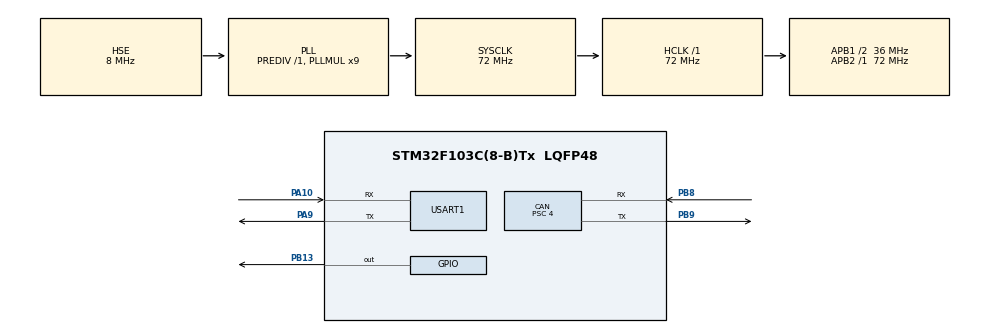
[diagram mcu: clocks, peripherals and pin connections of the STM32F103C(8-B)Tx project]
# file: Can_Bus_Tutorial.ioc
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CAN.BS1=CAN_BS1_9TQ
CAN.BS2=CAN_BS2_8TQ
CAN.CalculateTimeBit=2000
CAN.CalculateTimeQuantum=111.11111111111111
CAN.Prescaler=4
Mcu.Family=STM32F1
Mcu.Name=STM32F103C(8-B)Tx
Mcu.Package=LQFP48
NVIC.PriorityGroup=NVIC_PRIORITYGROUP_4
NVIC.USART1_IRQn=true\:0\:0\:false\:false\:true\:true\:true\:true
NVIC.USB_LP_CAN1_RX0_IRQn=true\:0\:0\:false\:false\:true\:true\:true\:true
PA10.Mode=Asynchronous
PA10.Signal=USART1_RX
PA13.Mode=Serial_Wire
PA13.Signal=SYS_JTMS-SWDIO
PA14.Mode=Serial_Wire
PA14.Signal=SYS_JTCK-SWCLK
PA9.Mode=Asynchronous
PA9.Signal=USART1_TX
PB13.Signal=GPIO_Output
PB8.Mode=Master
PB8.Signal=CAN_RX
PB9.Mode=Master
PB9.Signal=CAN_TX
PD0-OSC_IN.Mode=HSE-External-Oscillator
PD0-OSC_IN.Signal=RCC_OSC_IN
PD1-OSC_OUT.Mode=HSE-External-Oscillator
PD1-OSC_OUT.Signal=RCC_OSC_OUT
ProjectManager.HeapSize=0x200
ProjectManager.StackSize=0x400
ProjectManager.TargetToolchain=MDK-ARM V5
RCC.AHBFreq_Value=72000000
RCC.APB1CLKDivider=RCC_HCLK_DIV2
RCC.APB1Freq_Value=36000000
RCC.APB1TimFreq_Value=72000000
RCC.APB2Freq_Value=72000000
RCC.APB2TimFreq_Value=72000000
RCC.HCLKFreq_Value=72000000
RCC.PLLMUL=RCC_PLL_MUL9
RCC.PLLSourceVirtual=RCC_PLLSOURCE_HSE
RCC.SYSCLKFreq_VALUE=72000000
RCC.SYSCLKSource=RCC_SYSCLKSOURCE_PLLCLK
RCC.USBFreq_Value=72000000
USART1.VirtualMode=VM_ASYNC
board=custom

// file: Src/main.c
/**
  ******************************************************************************
  * @file           : main.c
  * @brief          : Main program body
  ******************************************************************************
  ** This notice applies to any and all portions of this file
  * that are not between comment pairs USER CODE BEGIN and
  * USER CODE END. Other portions of this file, whether
  * inserted by the user or by software development tools
  * are owned by their respective copyright owners.
  *
  * COPYRIGHT(c) 2019 STMicroelectronics
  *
  * Redistribution and use in source and binary forms, with or without modification,
  * are permitted provided that the following conditions are met:
  *   1. Redistributions of source code must retain the above copyright notice,
  *      this list of conditions and the following disclaimer.
  *   2. Redistributions in binary form must reproduce the above copyright notice,
  *      this list of conditions and the following disclaimer in the documentation
  *      and/or other materials provided with the distribution.
  *   3. Neither the name of STMicroelectronics nor the names of its contributors
  *      may be used to endorse or promote products derived from this software
  *      without specific prior written permission.
  *
  * THIS SOFTWARE IS PROVIDED BY THE COPYRIGHT HOLDERS AND CONTRIBUTORS "AS IS"
  * AND ANY EXPRESS OR IMPLIED WARRANTIES, INCLUDING, BUT NOT LIMITED TO, THE
  * IMPLIED WARRANTIES OF MERCHANTABILITY AND FITNESS FOR A PARTICULAR PURPOSE ARE
  * DISCLAIMED. IN NO EVENT SHALL THE COPYRIGHT HOLDER OR CONTRIBUTORS BE LIABLE
  * FOR ANY DIRECT, INDIRECT, INCIDENTAL, SPECIAL, EXEMPLARY, OR CONSEQUENTIAL
  * DAMAGES (INCLUDING, BUT NOT LIMITED TO, PROCUREMENT OF SUBSTITUTE GOODS OR
  * SERVICES; LOSS OF USE, DATA, OR PROFITS; OR BUSINESS INTERRUPTION) HOWEVER
  * CAUSED AND ON ANY THEORY OF LIABILITY, WHETHER IN CONTRACT, STRICT LIABILITY,
  * OR TORT (INCLUDING NEGLIGENCE OR OTHERWISE) ARISING IN ANY WAY OUT OF THE USE
  * OF THIS SOFTWARE, EVEN IF ADVISED OF THE POSSIBILITY OF SUCH DAMAGE.
  *
  ******************************************************************************
  */
#include "main.h"
#include "stm32f1xx_hal.h"
#include "string.h"
CAN_HandleTypeDef hcan1;
UART_HandleTypeDef huart1;

/* USER CODE BEGIN PV */
/* Private variables ---------------------------------------------------------*/

CAN_FilterConfTypeDef sFilterConfig;
CanTxMsgTypeDef TxMessage;
CanRxMsgTypeDef RxMessage;
/* USER CODE END PV */

void SystemClock_Config(void);
static void MX_GPIO_Init(void);
static void MX_USART1_UART_Init(void);
static void MX_CAN_Init(void);
void Serialprintln(char _out[]);
void newline(void);
HAL_StatusTypeDef T_HAL_CAN_Transmit(CAN_HandleTypeDef* hcan, uint32_t Timeout);

/* USER CODE BEGIN PFP */
/* Private function prototypes -----------------------------------------------*/

/* USER CODE END PFP */

int main(void)
{

  /* MCU Configuration----------------------------------------------------------*/

  /* Reset of all peripherals, Initializes the Flash interface and the Systick. */
  HAL_Init();

  /* Configure the system clock */
  SystemClock_Config();

  /* Initialize all configured peripherals */
  MX_GPIO_Init();
  MX_USART1_UART_Init();
	Serialprintln("Welcome");
	Serialprintln("UART and GPIO is initiated");
	Serialprintln("Clock configured ");
	Serialprintln("HAL initiated");
	Serialprintln("Going to try to initiate MX_CAN");
	Serialprintln("INITIALISING CAN BUS NOW");
  MX_CAN_Init();
	HAL_Delay(500);
	Serialprintln("Setting the Messages and perameters");
	Serialprintln("Starting with sFilterConfig");
	sFilterConfig.FilterNumber = 0;
	sFilterConfig.FilterMode = CAN_FILTERMODE_IDMASK;
	sFilterConfig.FilterScale = CAN_FILTERSCALE_32BIT;
	sFilterConfig.FilterIdHigh = 0x0000;
	sFilterConfig.FilterIdLow = 0x0000;
	sFilterConfig.FilterMaskIdHigh = 0x0000;
	sFilterConfig.FilterMaskIdLow = 0x0000;
	sFilterConfig.FilterFIFOAssignment = CAN_FILTER_FIFO0;
	sFilterConfig.FilterActivation = ENABLE;
	sFilterConfig.BankNumber = 14;

	Serialprintln("Filter config was done now to link to hcan");

	HAL_CAN_ConfigFilter(&hcan1, &sFilterConfig);

	Serialprintln("All linked up to hcan");

	Serialprintln("Now for the Tx side of it");

	Serialprintln("Setting up the TxMessage");
	TxMessage.IDE = CAN_ID_STD;
	TxMessage.StdId = 0xF1;
	TxMessage.RTR = CAN_RTR_DATA;

	TxMessage.DLC = 8;
	TxMessage.Data[0] = 0x00;
	TxMessage.Data[1] = 0x01;
	TxMessage.Data[2] = 0x02;
	TxMessage.Data[3] = 0x03;
	TxMessage.Data[4] = 0x04;
	TxMessage.Data[5] = 0x05;
	TxMessage.Data[6] = 0x06;
	TxMessage.Data[7] = 0x07;

	Serialprintln("Message data configured");
	Serialprintln("Linking it to the hcan ");

  /* Infinite loop */
  /* USER CODE BEGIN WHILE */
	HAL_Delay(500);
  while (1)
  {
		Serialprintln("In the loop now");
		Serialprintln("Trying to send a message");
		T_HAL_CAN_Transmit(&hcan1, 10);
		Serialprintln("Message sent");

  /* USER CODE END WHILE */

  }

}

void SystemClock_Config(void)
{

  RCC_OscInitTypeDef RCC_OscInitStruct;
  RCC_ClkInitTypeDef RCC_ClkInitStruct;

    /**Initializes the CPU, AHB and APB busses clocks
    */
  RCC_OscInitStruct.OscillatorType = RCC_OSCILLATORTYPE_HSE;
  RCC_OscInitStruct.HSEState = RCC_HSE_ON;
  RCC_OscInitStruct.HSEPredivValue = RCC_HSE_PREDIV_DIV1;
  RCC_OscInitStruct.HSIState = RCC_HSI_ON;
  RCC_OscInitStruct.PLL.PLLState = RCC_PLL_ON;
  RCC_OscInitStruct.PLL.PLLSource = RCC_PLLSOURCE_HSE;
  RCC_OscInitStruct.PLL.PLLMUL = RCC_PLL_MUL9;
  if (HAL_RCC_OscConfig(&RCC_OscInitStruct) != HAL_OK)
  {
    _Error_Handler(__FILE__, __LINE__);
  }

    /**Initializes the CPU, AHB and APB busses clocks
    */
  RCC_ClkInitStruct.ClockType = RCC_CLOCKTYPE_HCLK|RCC_CLOCKTYPE_SYSCLK
                              |RCC_CLOCKTYPE_PCLK1|RCC_CLOCKTYPE_PCLK2;
  RCC_ClkInitStruct.SYSCLKSource = RCC_SYSCLKSOURCE_PLLCLK;
  RCC_ClkInitStruct.AHBCLKDivider = RCC_SYSCLK_DIV1;
  RCC_ClkInitStruct.APB1CLKDivider = RCC_HCLK_DIV2;
  RCC_ClkInitStruct.APB2CLKDivider = RCC_HCLK_DIV1;

  if (HAL_RCC_ClockConfig(&RCC_ClkInitStruct, FLASH_LATENCY_2) != HAL_OK)
  {
    _Error_Handler(__FILE__, __LINE__);
  }

    /**Configure the Systick interrupt time
    */
  HAL_SYSTICK_Config(HAL_RCC_GetHCLKFreq()/1000);

    /**Configure the Systick
    */
  HAL_SYSTICK_CLKSourceConfig(SYSTICK_CLKSOURCE_HCLK);

  /* SysTick_IRQn interrupt configuration */
  HAL_NVIC_SetPriority(SysTick_IRQn, 0, 0);
}

/* CAN init function */
static void MX_CAN_Init(void)
{

  hcan1.Instance = CAN1;
  hcan1.Init.Prescaler = 4;
  hcan1.Init.Mode = CAN_MODE_NORMAL;
  hcan1.Init.SJW = CAN_SJW_1TQ;
  hcan1.Init.BS1 = CAN_BS1_9TQ;
  hcan1.Init.BS2 = CAN_BS2_8TQ;
  hcan1.Init.TTCM = DISABLE;
  hcan1.Init.ABOM = DISABLE;
  hcan1.Init.AWUM = DISABLE;
  hcan1.Init.NART = DISABLE;
  hcan1.Init.RFLM = DISABLE;
  hcan1.Init.TXFP = DISABLE;
  if (HAL_CAN_Init(&hcan1) != HAL_OK)
  {
		newline();
		Serialprintln("/////////////////////////////////////////");
		Serialprintln("/////////////////////////////////////////");
		Serialprintln("ERROR INITIATING CAN BUS");

    _Error_Handler(__FILE__, __LINE__);
  }
	else{
		Serialprintln("CAN BUS INITIATED");
	}

}

/* USART1 init function */
static void MX_USART1_UART_Init(void)
{

  huart1.Instance = USART1;
  huart1.Init.BaudRate = 115200;
  huart1.Init.WordLength = UART_WORDLENGTH_8B;
  huart1.Init.StopBits = UART_STOPBITS_1;
  huart1.Init.Parity = UART_PARITY_NONE;
  huart1.Init.Mode = UART_MODE_TX_RX;
  huart1.Init.HwFlowCtl = UART_HWCONTROL_NONE;
  huart1.Init.OverSampling = UART_OVERSAMPLING_16;
  if (HAL_UART_Init(&huart1) != HAL_OK)
  {
    _Error_Handler(__FILE__, __LINE__);
  }

}

/** Configure pins as
        * Analog
        * Input
        * Output
        * EVENT_OUT
        * EXTI
*/
static void MX_GPIO_Init(void)
{

  GPIO_InitTypeDef GPIO_InitStruct;

  /* GPIO Ports Clock Enable */
  __HAL_RCC_GPIOD_CLK_ENABLE();
  __HAL_RCC_GPIOB_CLK_ENABLE();
  __HAL_RCC_GPIOA_CLK_ENABLE();

  /*Configure GPIO pin Output Level */
  HAL_GPIO_WritePin(GPIOB, GPIO_PIN_13, GPIO_PIN_RESET);

  /*Configure GPIO pin : PB13 */
  GPIO_InitStruct.Pin = GPIO_PIN_13;
  GPIO_InitStruct.Mode = GPIO_MODE_OUTPUT_PP;
  GPIO_InitStruct.Pull = GPIO_NOPULL;
  GPIO_InitStruct.Speed = GPIO_SPEED_FREQ_LOW;
  HAL_GPIO_Init(GPIOB, &GPIO_InitStruct);

}

/* USER CODE BEGIN 4 */
void Serialprintln(char _out[]){
	HAL_UART_Transmit(&huart1, (uint8_t *) _out, strlen(_out), 10);
	char newline[2] = "\r\n";
	HAL_UART_Transmit(&huart1, (uint8_t *) newline, 2, 10);
}

void newline(void){
	char newline[2] = "\r\n";
  HAL_UART_Transmit(&huart1, (uint8_t *) newline, 2, 10);
}
//////////////////////////////////////////////////////////////////////////////////////////////////////////////////////
/*
Copied and renamed the transmit function for debugging
*/
HAL_StatusTypeDef T_HAL_CAN_Transmit(CAN_HandleTypeDef* hcan, uint32_t Timeout)
{
	Serialprintln("Starting the transmit function now");
  uint32_t transmitmailbox = CAN_TXSTATUS_NOMAILBOX;
	Serialprintln("transmitmailbox int created");
  uint32_t tickstart = 0U;
	Serialprintln("tickstart created");

  /* Check the parameters */
  assert_param(IS_CAN_IDTYPE(hcan->pTxMsg->IDE));
  assert_param(IS_CAN_RTR(hcan->pTxMsg->RTR));
  assert_param(IS_CAN_DLC(hcan->pTxMsg->DLC));
	Serialprintln("Parameters checked");

  if(((hcan->Instance->TSR&CAN_TSR_TME0) == CAN_TSR_TME0) || \
     ((hcan->Instance->TSR&CAN_TSR_TME1) == CAN_TSR_TME1) || \
     ((hcan->Instance->TSR&CAN_TSR_TME2) == CAN_TSR_TME2))
  {
    /* Process locked */
    __HAL_LOCK(hcan);
		Serialprintln("process locked");
		Serialprintln("checking hcan status now");

    /* Change CAN state */
    switch(hcan->State)
    {
      case(HAL_CAN_STATE_BUSY_RX0):
				Serialprintln("HAL_CAN_STATE_BUSY_TX_RX0");
          hcan->State = HAL_CAN_STATE_BUSY_TX_RX0;
          break;
      case(HAL_CAN_STATE_BUSY_RX1):
				Serialprintln("HAL_CAN_STATE_BUSY_TX_RX1");
          hcan->State = HAL_CAN_STATE_BUSY_TX_RX1;
          break;
      case(HAL_CAN_STATE_BUSY_RX0_RX1):
				Serialprintln("HAL_CAN_STATE_BUSY_TX_RX0_RX1");
          hcan->State = HAL_CAN_STATE_BUSY_TX_RX0_RX1;
          break;
      default: /* HAL_CAN_STATE_READY */
				Serialprintln("HAL_CAN_STATE_BUSY_TX");
          hcan->State = HAL_CAN_STATE_BUSY_TX;
          break;
    }
		Serialprintln("Select one empty transmit mailbox");

    /* Select one empty transmit mailbox */
    if (HAL_IS_BIT_SET(hcan->Instance->TSR, CAN_TSR_TME0))
    {
			Serialprintln("transmitmailbox = CAN_TXMAILBOX_0;");
      transmitmailbox = CAN_TXMAILBOX_0;
    }
    else if (HAL_IS_BIT_SET(hcan->Instance->TSR, CAN_TSR_TME1))
    {
			Serialprintln("transmitmailbox = CAN_TXMAILBOX_1;");
      transmitmailbox = CAN_TXMAILBOX_1;
    }
    else
    {
			Serialprintln("transmitmailbox = CAN_TXMAILBOX_2;");
      transmitmailbox = CAN_TXMAILBOX_2;
    }

		Serialprintln("Set up the Id");
    /* Set up the Id */
    hcan->Instance->sTxMailBox[transmitmailbox].TIR &= CAN_TI0R_TXRQ;

    if (TxMessage.IDE == CAN_ID_STD)
    {
      assert_param(IS_CAN_STDID(TxMessage.StdId));

      hcan->Instance->sTxMailBox[transmitmailbox].TIR |= ((TxMessage.StdId << CAN_TI0R_STID_Pos) |
                                                           TxMessage.RTR);
			Serialprintln("Setting up a STD ID");
    }
    else
    {
      assert_param(IS_CAN_EXTID(hcan->pTxMsg->ExtId));
      hcan->Instance->sTxMailBox[transmitmailbox].TIR |= ((hcan->pTxMsg->ExtId << CAN_TI0R_EXID_Pos) |
                                                           hcan->pTxMsg->IDE |
                                                           hcan->pTxMsg->RTR);
			Serialprintln("Setting up an extended ID");
    }
Serialprintln("Done setting the ID");
    /* Set up the DLC */
		Serialprintln("Set up the DLC");

		TxMessage.DLC &= (uint8_t)0x0000000F;
		Serialprintln("hcan->pTxMsg->DLC &= (uint8_t)0x0000000F; DONE");
    //hcan->sTxMailBox[transmit_mailbox].TDTR &= (uint32_t)0xFFFFFFF0;
		//hcan->sTxMailBox[transmit_mailbox].TDTR |= TxMessage->DLC;

    //hcan->pTxMsg->DLC &= (uint8_t)0x0000000F;

    hcan->Instance->sTxMailBox[transmitmailbox].TDTR &= (uint32_t)0xFFFFFFF0;
		Serialprintln("hcan->Instance->sTxMailBox[transmitmailbox].TDTR &= 0xFFFFFFF0; DONE");

    hcan->Instance->sTxMailBox[transmitmailbox].TDTR |= TxMessage.DLC;
		Serialprintln("hcan->Instance->sTxMailBox[transmitmailbox].TDTR |= hcan->pTxMsg->DLC; DONE");

		Serialprintln("Set up the DLC DONE");

    /* Set up the data field */
		Serialprintln("Set up the data field");
    WRITE_REG(hcan->Instance->sTxMailBox[transmitmailbox].TDLR, ((uint32_t)TxMessage.Data[3] << CAN_TDL0R_DATA3_Pos) |
                                                                ((uint32_t)TxMessage.Data[2] << CAN_TDL0R_DATA2_Pos) |
                                                                ((uint32_t)TxMessage.Data[1] << CAN_TDL0R_DATA1_Pos) |
                                                                ((uint32_t)TxMessage.Data[0] << CAN_TDL0R_DATA0_Pos));
    WRITE_REG(hcan->Instance->sTxMailBox[transmitmailbox].TDHR, ((uint32_t)TxMessage.Data[7] << CAN_TDL0R_DATA3_Pos) |
                                                                ((uint32_t)TxMessage.Data[6] << CAN_TDL0R_DATA2_Pos) |
                                                                ((uint32_t)TxMessage.Data[5] << CAN_TDL0R_DATA1_Pos) |
                                                                ((uint32_t)TxMessage.Data[4] << CAN_TDL0R_DATA0_Pos));
		Serialprintln("Set up the data field DONE");
    /* Request transmission */
    SET_BIT(hcan->Instance->sTxMailBox[transmitmailbox].TIR, CAN_TI0R_TXRQ);

    /* Get tick */
    tickstart = HAL_GetTick();

    /* Check End of transmission flag */
    while(!(__HAL_CAN_TRANSMIT_STATUS(hcan, transmitmailbox)))
    {
      /* Check for the Timeout */
      if(Timeout != HAL_MAX_DELAY)
      {
        if((Timeout == 0U) || ((HAL_GetTick()-tickstart) > Timeout))
        {
          hcan->State = HAL_CAN_STATE_TIMEOUT;

          /* Cancel transmission */
          __HAL_CAN_CANCEL_TRANSMIT(hcan, transmitmailbox);

          /* Process unlocked */
          __HAL_UNLOCK(hcan);
          return HAL_TIMEOUT;
        }
      }
    }
    /* Change CAN state */
    switch(hcan->State)
    {
      case(HAL_CAN_STATE_BUSY_TX_RX0):
          hcan->State = HAL_CAN_STATE_BUSY_RX0;
          break;
      case(HAL_CAN_STATE_BUSY_TX_RX1):
          hcan->State = HAL_CAN_STATE_BUSY_RX1;
          break;
      case(HAL_CAN_STATE_BUSY_TX_RX0_RX1):
          hcan->State = HAL_CAN_STATE_BUSY_RX0_RX1;
          break;
      default: /* HAL_CAN_STATE_BUSY_TX */
          hcan->State = HAL_CAN_STATE_READY;
          break;
    }

    /* Process unlocked */
    __HAL_UNLOCK(hcan);

    /* Return function status */
    return HAL_OK;
  }
  else
  {
    /* Change CAN state */
    hcan->State = HAL_CAN_STATE_ERROR;

    /* Return function status */
    return HAL_ERROR;
  }
}

/* USER CODE END 4 */

void _Error_Handler(char *file, int line)
{
  while(1)
  {
  }
}

/************************ (C) COPYRIGHT STMicroelectronics *****END OF FILE****/
